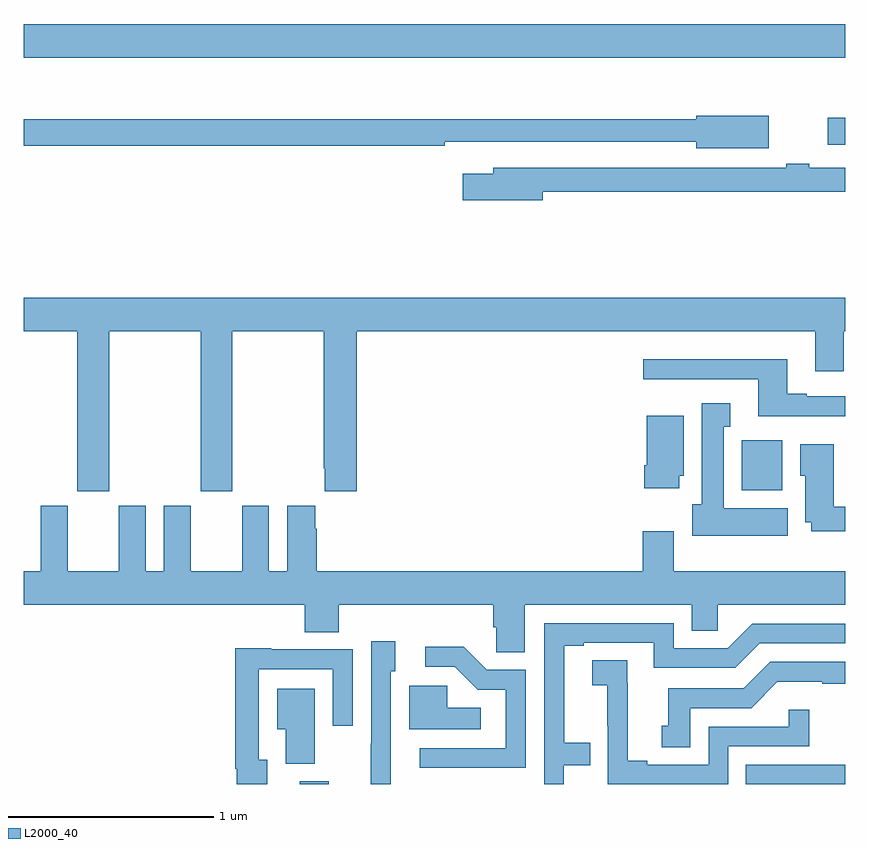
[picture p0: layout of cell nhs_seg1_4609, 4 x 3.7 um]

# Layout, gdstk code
import gdstk
lib = gdstk.Library(unit=1e-6, precision=1e-09)
def R(c, l, rs):  # rectangles x0, y0, x1, y1
    for r in rs: c.add(gdstk.rectangle(r[:2], r[2:], *l))
def P(c, l, *ps):  # polygons
    for p in ps: c.add(gdstk.Polygon(p, *l))
L2000_40 = (2000, 40)

nhs_seg1_4609 = lib.new_cell('nhs_seg1_4609')
R(nhs_seg1_4609, L2000_40, [(362.345,544.199,362.485,544.212), (364.516,544.199,365,544.293), (364.496,545.63,364.693,545.872), (364.914,547.313,365,547.443), (361,547.736,365,547.9)])
P(nhs_seg1_4609, L2000_40, [(364.627,547.453),(364.274,547.453),(364.274,547.435),(361,547.435),(361,547.306),(363.05,547.306),(363.05,547.326),(364.274,547.326),(364.274,547.295),(364.627,547.295)],
  [(363.526,547.084),(365,547.084),(365,547.2),(364.826,547.2),(364.826,547.22),(364.714,547.22),(364.714,547.2),(363.287,547.2),(363.287,547.171),(363.138,547.171),(363.138,547.042),(363.526,547.042)],
  [(361.416,546.404),(361.861,546.404),(361.861,545.625),(362.016,545.625),(362.016,546.404),(362.461,546.404),(362.461,545.737),(362.465,545.737),(362.465,545.625),(362.621,545.625),(362.621,546.404),(364.853,546.404),(364.853,546.21),(364.993,546.21),(364.993,546.404),(365,546.404),(365,546.568),(361,546.568),(361,546.404),(361.261,546.404),(361.261,545.625),(361.416,545.625)],
  [(365,546.087),(364.813,546.087),(364.813,546.1),(364.717,546.1),(364.717,546.268),(364.017,546.268),(364.017,546.171),(364.577,546.171),(364.577,545.99),(365,545.99)],
  [(364.72,545.542),(364.408,545.542),(364.408,545.939),(364.441,545.939),(364.441,546.052),(364.301,546.052),(364.301,545.562),(364.256,545.562),(364.256,545.408),(364.72,545.408)],
  [(364.192,545.7),(364.213,545.7),(364.213,545.992),(364.034,545.992),(364.034,545.752),(364.022,545.752),(364.022,545.64),(364.192,545.64)],
  [(365,545.548),(364.945,545.548),(364.945,545.854),(364.781,545.854),(364.781,545.7),(364.805,545.7),(364.805,545.474),(364.835,545.474),(364.835,545.43),(365,545.43)],
  [(361.682,545.554),(361.682,545.236),(361.594,545.236),(361.594,545.554),(361.463,545.554),(361.463,545.236),(361.213,545.236),(361.213,545.554),(361.082,545.554),(361.082,545.236),(361,545.236),(361,545.072),(362.369,545.072),(362.369,544.939),(362.534,544.939),(362.534,545.072),(363.287,545.072),(363.287,544.963),(363.3,544.963),(363.3,544.84),(363.439,544.84),(363.439,545.072),(364.253,545.072),(364.253,544.945),(364.38,544.945),(364.38,545.072),(365,545.072),(365,545.236),(364.165,545.236),(364.165,545.431),(364.013,545.431),(364.013,545.236),(362.426,545.236),(362.426,545.441),(362.419,545.441),(362.419,545.554),(362.282,545.554),(362.282,545.236),(362.194,545.236),(362.194,545.554),(362.063,545.554),(362.063,545.236),(361.813,545.236),(361.813,545.554)],
  [(363.63,544.29),(363.758,544.29),(363.758,544.399),(363.631,544.399),(363.631,544.872),(363.727,544.872),(363.727,544.887),(364.068,544.887),(364.068,544.764),(364.464,544.764),(364.584,544.884),(365,544.884),(365,544.98),(364.548,544.98),(364.428,544.86),(364.164,544.86),(364.164,544.983),(363.534,544.983),(363.534,544.199),(363.63,544.199)],
  [(362.787,544.749),(362.809,544.749),(362.809,544.894),(362.691,544.894),(362.691,544.394),(362.69,544.394),(362.69,544.199),(362.787,544.199)],
  [(363.444,544.755),(363.255,544.755),(363.142,544.868),(362.955,544.868),(362.955,544.77),(363.099,544.77),(363.21,544.659),(363.348,544.659),(363.348,544.374),(362.928,544.374),(362.928,544.278),(363.444,544.278)],
  [(362.185,544.317),(362.145,544.317),(362.145,544.758),(362.505,544.758),(362.505,544.482),(362.601,544.482),(362.601,544.854),(362.205,544.854),(362.205,544.861),(362.029,544.861),(362.029,544.273),(362.037,544.273),(362.037,544.199),(362.185,544.199)],
  [(364.431,544.383),(364.826,544.383),(364.826,544.561),(364.725,544.561),(364.725,544.479),(364.335,544.479),(364.335,544.293),(364.036,544.293),(364.036,544.313),(363.94,544.313),(363.94,544.691),(363.938,544.691),(363.938,544.802),(363.768,544.802),(363.768,544.681),(363.842,544.681),(363.842,544.483),(363.843,544.483),(363.843,544.199),(364.431,544.199)],
  [(364.246,544.569),(364.542,544.569),(364.67,544.697),(364.889,544.697),(364.889,544.686),(365,544.686),(365,544.794),(364.635,544.794),(364.506,544.665),(364.139,544.665),(364.139,544.482),(364.106,544.482),(364.106,544.378),(364.246,544.378)],
  [(363.226,544.57),(363.063,544.57),(363.063,544.677),(362.876,544.677),(362.876,544.466),(363.226,544.466)],
  [(362.416,544.663),(362.234,544.663),(362.234,544.466),(362.276,544.466),(362.276,544.297),(362.416,544.297)])

lib.write_gds('nhs_seg1_4609.gds')
